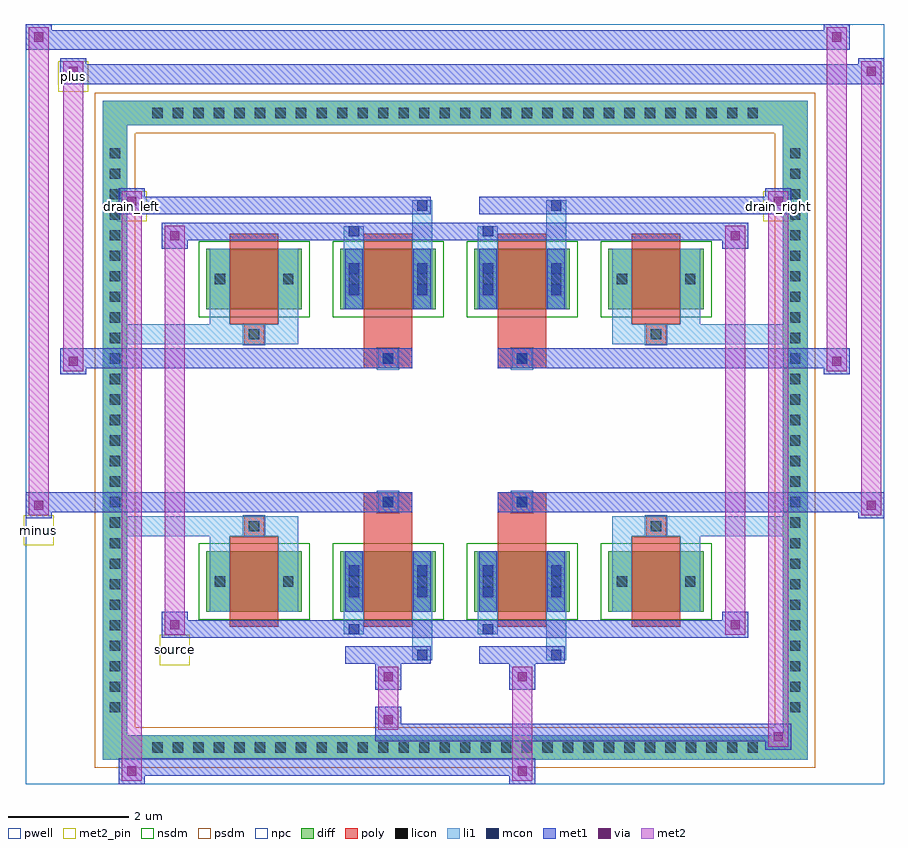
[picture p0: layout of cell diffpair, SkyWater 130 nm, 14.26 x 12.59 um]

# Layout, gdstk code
import gdstk
lib = gdstk.Library(unit=1e-6, precision=5e-09)
def R(c, l, rs):  # rectangles x0, y0, x1, y1
    for r in rs: c.add(gdstk.rectangle(r[:2], r[2:], *l))
def A(c, l, x, y, w, h, nx, ny, dx, dy):  # array of equal rectangles
    R(c, l, [(x+i*dx, y+j*dy, x+i*dx+w, y+j*dy+h) for i in range(nx) for j in range(ny)])
def P(c, l, *ps):  # polygons
    for p in ps: c.add(gdstk.Polygon(p, *l))
pwell = (64, 44)
diff = (65, 20)
poly = (66, 20)
licon = (66, 44)
li1 = (67, 20)
mcon = (67, 44)
met1 = (68, 20)
via = (68, 44)
met2_pin = (69, 16)
met2 = (69, 20)
nsdm = (93, 44)
psdm = (94, 20)
npc = (95, 20)

diffpair = lib.new_cell('diffpair')
R(diffpair, pwell, [(-7.11,-5.86,7.11,6.73), (-4.43,-4.05,-0.01,-0.825), (0.01,-4.05,4.43,-0.825), (-4.43,0.825,-0.01,4.05), (0.01,0.825,4.43,4.05)])
A(diffpair, diff, -5.135, -5.46, 0.41, 0.41, 30, 2, 0.34, 10.51)
A(diffpair, diff, -5.84, -4.795, 0.41, 0.41, 1, 28, 0, 0.34)
A(diffpair, diff, 5.43, -4.795, 0.41, 0.41, 1, 28, 0, 0.34)
A(diffpair, diff, -4.12, -3.005, 1.58, 1, 4, 2, 2.22, 5.01)
R(diffpair, diff, [(-5.135,-5.46,5.135,-5.05), (-5.84,-4.795,-5.43,4.795), (5.43,-4.795,5.84,4.795), (-5.135,5.05,5.135,5.46)])
P(diffpair, diff, [(5.84,5.46),(-5.84,5.46),(-5.84,-5.05),(-5.43,-5.05),(-5.43,5.05),(5.43,5.05),(5.43,-5.05),(-5.43,-5.05),(-5.84,-5.05),(-5.84,-5.46),(5.84,-5.46)])
A(diffpair, poly, -3.73, -3.255, 0.8, 1.5, 4, 2, 2.22, 5.01)
R(diffpair, poly, [(-3.495,-1.755,-3.165,-1.425), (-3.495,-1.755,-3.165,-1.425), (-1.51,-1.755,-0.71,-1.355), (0.71,-1.755,1.51,-1.355), (3.165,-1.755,3.495,-1.425), (3.165,-1.755,3.495,-1.425), (-1.51,-1.355,-0.71,-1.025), (-1.275,-1.355,-0.945,-1.025), (0.71,-1.355,1.51,-1.025), (0.945,-1.355,1.275,-1.025), (-1.51,1.025,-0.71,1.355), (-1.275,1.025,-0.945,1.355), (0.71,1.025,1.51,1.355), (0.945,1.025,1.275,1.355), (-1.51,1.355,-0.71,1.755), (0.71,1.355,1.51,1.755), (-3.495,1.425,-3.165,1.755), (-3.495,1.425,-3.165,1.755), (3.165,1.425,3.495,1.755), (3.165,1.425,3.495,1.755)])
A(diffpair, licon, -5.015, -5.34, 0.17, 0.17, 30, 2, 0.34, 10.51)
A(diffpair, licon, -5.72, -4.675, 0.17, 0.17, 1, 28, 0, 0.34)
A(diffpair, licon, 5.55, -4.675, 0.17, 0.17, 1, 28, 0, 0.34)
R(diffpair, licon, [(-3.98,-2.59,-3.81,-2.42), (-2.85,-2.59,-2.68,-2.42), (-1.76,-2.59,-1.59,-2.42), (-0.63,-2.59,-0.46,-2.42), (0.46,-2.59,0.63,-2.42), (1.59,-2.59,1.76,-2.42), (2.68,-2.59,2.85,-2.42), (3.81,-2.59,3.98,-2.42), (-3.415,-1.675,-3.245,-1.505), (3.245,-1.675,3.415,-1.505), (-1.195,-1.275,-1.025,-1.105), (1.025,-1.275,1.195,-1.105), (-1.195,1.105,-1.025,1.275), (1.025,1.105,1.195,1.275), (-3.415,1.505,-3.245,1.675), (3.245,1.505,3.415,1.675), (-3.98,2.42,-3.81,2.59), (-2.85,2.42,-2.68,2.59), (-1.76,2.42,-1.59,2.59), (-0.63,2.42,-0.46,2.59), (0.46,2.42,0.63,2.59), (1.59,2.42,1.76,2.59), (2.68,2.42,2.85,2.59), (3.81,2.42,3.98,2.59)])
A(diffpair, li1, -5.095, -5.42, 0.33, 0.33, 30, 2, 0.34, 10.51)
A(diffpair, li1, -5.8, -4.755, 0.33, 0.33, 1, 28, 0, 0.34)
A(diffpair, li1, 5.47, -4.755, 0.33, 0.33, 1, 28, 0, 0.34)
R(diffpair, li1, [(-5.84,-5.46,-5.43,-5.05), (-5.84,-5.46,-5.43,-5.05), (-5.43,-5.46,5.43,-5.05), (5.43,-5.46,5.84,-5.05), (5.43,-5.46,5.84,-5.05), (-5.84,-5.05,-5.43,5.05), (5.43,-5.05,5.84,5.05), (-0.71,-3.81,-0.38,-3.005), (-0.63,-3.81,-0.46,-3.64), (1.51,-3.81,1.84,-3.005), (1.59,-3.81,1.76,-3.64), (-1.84,-3.38,-1.51,-3.005), (-1.76,-3.38,-1.59,-3.21), (0.38,-3.38,0.71,-3.005), (0.46,-3.38,0.63,-3.21), (-4.06,-3.005,-3.73,-2.005), (-2.93,-3.005,-2.6,-2.005), (-1.84,-3.005,-1.51,-2.005), (-0.71,-3.005,-0.38,-2.005), (0.38,-3.005,0.71,-2.005), (1.51,-3.005,1.84,-2.005), (2.6,-3.005,2.93,-2.005), (3.73,-3.005,4.06,-2.005), (-1.76,-2.77,-1.59,-2.6), (-1.76,-2.77,-1.59,-2.24), (-0.63,-2.77,-0.46,-2.6), (-0.63,-2.77,-0.46,-2.24), (0.46,-2.77,0.63,-2.6), (0.46,-2.77,0.63,-2.24), (1.59,-2.77,1.76,-2.6), (1.59,-2.77,1.76,-2.24), (-4.06,-2.67,-3.73,-2.34), (-2.93,-2.67,-2.6,-2.34), (-1.84,-2.67,-1.51,-2.34), (-0.71,-2.67,-0.38,-2.34), (0.38,-2.67,0.71,-2.34), (1.51,-2.67,1.84,-2.34), (2.6,-2.67,2.93,-2.34), (3.73,-2.67,4.06,-2.34), (-1.76,-2.41,-1.59,-2.24), (-0.63,-2.41,-0.46,-2.24), (0.46,-2.41,0.63,-2.24), (1.59,-2.41,1.76,-2.24), (-4.06,-2.005,-3.73,-1.425), (-2.93,-2.005,-2.6,-1.425), (2.6,-2.005,2.93,-1.425), (3.73,-2.005,4.06,-1.425), (-5.84,-1.755,-3.495,-1.425), (-4.06,-1.755,-3.495,-1.425), (-3.495,-1.755,-3.165,-1.425), (-3.165,-1.755,-2.6,-1.425), (2.6,-1.755,3.165,-1.425), (3.165,-1.755,3.495,-1.425), (3.165,-1.755,5.84,-1.425), (3.495,-1.755,4.06,-1.425), (-1.275,-1.355,-0.945,-1.025), (0.945,-1.355,1.275,-1.025), (-1.275,1.025,-0.945,1.355), (0.945,1.025,1.275,1.355), (-5.84,1.425,-3.495,1.755), (-4.06,1.425,-3.495,1.755), (-4.06,1.425,-3.73,2.005), (-3.495,1.425,-3.165,1.755), (-3.165,1.425,-2.6,1.755), (-2.93,1.425,-2.6,2.005), (2.6,1.425,3.165,1.755), (2.6,1.425,2.93,2.005), (3.165,1.425,3.495,1.755), (3.165,1.425,5.84,1.755), (3.495,1.425,4.06,1.755), (3.73,1.425,4.06,2.005), (-4.06,2.005,-3.73,3.005), (-2.93,2.005,-2.6,3.005), (-1.84,2.005,-1.51,3.005), (-0.71,2.005,-0.38,3.005), (0.38,2.005,0.71,3.005), (1.51,2.005,1.84,3.005), (2.6,2.005,2.93,3.005), (3.73,2.005,4.06,3.005), (-1.76,2.24,-1.59,2.41), (-1.76,2.24,-1.59,2.77), (-0.63,2.24,-0.46,2.41), (-0.63,2.24,-0.46,2.77), (0.46,2.24,0.63,2.41), (0.46,2.24,0.63,2.77), (1.59,2.24,1.76,2.41), (1.59,2.24,1.76,2.77), (-4.06,2.34,-3.73,2.67), (-2.93,2.34,-2.6,2.67), (-1.84,2.34,-1.51,2.67), (-0.71,2.34,-0.38,2.67), (0.38,2.34,0.71,2.67), (1.51,2.34,1.84,2.67), (2.6,2.34,2.93,2.67), (3.73,2.34,4.06,2.67), (-1.76,2.6,-1.59,2.77), (-0.63,2.6,-0.46,2.77), (0.46,2.6,0.63,2.77), (1.59,2.6,1.76,2.77), (-1.84,3.005,-1.51,3.38), (-0.71,3.005,-0.38,3.81), (0.38,3.005,0.71,3.38), (1.51,3.005,1.84,3.81), (-1.76,3.21,-1.59,3.38), (0.46,3.21,0.63,3.38), (-0.63,3.64,-0.46,3.81), (1.59,3.64,1.76,3.81), (-5.84,5.05,-5.43,5.46), (-5.84,5.05,-5.43,5.46), (-5.43,5.05,5.43,5.46), (5.43,5.05,5.84,5.46), (5.43,5.05,5.84,5.46)])
R(diffpair, mcon, [(-0.63,-3.81,-0.46,-3.64), (1.59,-3.81,1.76,-3.64), (-1.76,-3.38,-1.59,-3.21), (0.46,-3.38,0.63,-3.21), (-1.76,-2.77,-1.59,-2.6), (-0.63,-2.77,-0.46,-2.6), (0.46,-2.77,0.63,-2.6), (1.59,-2.77,1.76,-2.6), (-1.76,-2.41,-1.59,-2.24), (-0.63,-2.41,-0.46,-2.24), (0.46,-2.41,0.63,-2.24), (1.59,-2.41,1.76,-2.24), (-1.195,-1.275,-1.025,-1.105), (1.025,-1.275,1.195,-1.105), (-1.195,1.105,-1.025,1.275), (1.025,1.105,1.195,1.275), (-1.76,2.24,-1.59,2.41), (-0.63,2.24,-0.46,2.41), (0.46,2.24,0.63,2.41), (1.59,2.24,1.76,2.41), (-1.76,2.6,-1.59,2.77), (-0.63,2.6,-0.46,2.77), (0.46,2.6,0.63,2.77), (1.59,2.6,1.76,2.77), (-1.76,3.21,-1.59,3.38), (0.46,3.21,0.63,3.38), (-0.63,3.64,-0.46,3.81), (1.59,3.64,1.76,3.81)])
R(diffpair, met1, [(-5.57,-5.86,-5.14,-5.43), (0.895,-5.86,1.325,-5.43), (-5.57,-5.72,1.325,-5.43), (5.14,-5.29,5.57,-4.86), (-1.325,-5.15,5.57,-4.86), (-1.325,-5.01,-0.895,-4.58), (-1.325,-4.3,-0.895,-3.87), (0.895,-4.3,1.325,-3.87), (-1.82,-3.87,-0.4,-3.58), (-0.69,-3.87,-0.4,-3.58), (0.4,-3.87,1.82,-3.58), (1.53,-3.87,1.82,-3.58), (-4.86,-3.44,-4.43,-3.01), (-4.86,-3.44,-1.82,-3.15), (-1.82,-3.44,-1.53,-3.15), (-1.82,-3.44,-0.4,-3.15), (-0.4,-3.44,0.4,-3.15), (0.4,-3.44,0.69,-3.15), (0.4,-3.44,1.82,-3.15), (1.82,-3.44,4.86,-3.15), (4.43,-3.44,4.86,-3.01), (-1.82,-3.005,-1.53,-2.005), (-0.69,-3.005,-0.4,-2.005), (0.4,-3.005,0.69,-2.005), (1.53,-3.005,1.82,-2.005), (-1.82,-2.83,-1.53,-2.54), (-0.69,-2.83,-0.4,-2.54), (0.4,-2.83,0.69,-2.54), (1.53,-2.83,1.82,-2.54), (-1.82,-2.47,-1.53,-2.18), (-0.69,-2.47,-0.4,-2.18), (0.4,-2.47,0.69,-2.18), (1.53,-2.47,1.82,-2.18), (-7.11,-1.455,-6.68,-1.025), (6.68,-1.455,7.11,-1.025), (-7.11,-1.355,-0.71,-1.025), (-1.51,-1.355,-0.71,-1.025), (0.71,-1.355,1.51,-1.025), (0.71,-1.355,7.11,-1.025), (-1.255,-1.335,-0.965,-1.045), (0.965,-1.335,1.255,-1.045), (-6.54,0.925,-6.11,1.355), (6.11,0.925,6.54,1.355), (-6.54,1.025,-1.51,1.355), (-1.51,1.025,-0.71,1.355), (0.71,1.025,1.51,1.355), (1.51,1.025,6.54,1.355), (-1.255,1.045,-0.965,1.335), (0.965,1.045,1.255,1.335), (-1.82,2.005,-1.53,3.005), (-0.69,2.005,-0.4,3.005), (0.4,2.005,0.69,3.005), (1.53,2.005,1.82,3.005), (-1.82,2.18,-1.53,2.47), (-0.69,2.18,-0.4,2.47), (0.4,2.18,0.69,2.47), (1.53,2.18,1.82,2.47), (-1.82,2.54,-1.53,2.83), (-0.69,2.54,-0.4,2.83), (0.4,2.54,0.69,2.83), (1.53,2.54,1.82,2.83), (-4.86,3.01,-4.43,3.44), (4.43,3.01,4.86,3.44), (-4.86,3.15,-1.82,3.44), (-1.82,3.15,-1.53,3.44), (-1.82,3.15,-0.4,3.44), (-0.4,3.15,0.4,3.44), (0.4,3.15,0.69,3.44), (0.4,3.15,1.82,3.44), (1.82,3.15,4.86,3.44), (-5.57,3.58,-5.14,4.01), (-5.57,3.58,-1.82,3.87), (-1.82,3.58,-0.4,3.87), (-0.69,3.58,-0.4,3.87), (0.4,3.58,1.82,3.87), (1.53,3.58,1.82,3.87), (1.82,3.58,5.57,3.87), (5.14,3.58,5.57,4.01), (-6.54,5.73,-6.11,6.16), (-6.54,5.73,-4.43,6.06), (-4.43,5.73,4.43,6.06), (4.43,5.73,7.11,6.06), (6.68,5.73,7.11,6.16), (-7.11,6.3,-6.68,6.73), (-7.11,6.3,-4.43,6.63), (-4.43,6.3,4.43,6.63), (4.43,6.3,6.54,6.63), (6.11,6.3,6.54,6.73)])
R(diffpair, via, [(-5.43,-5.72,-5.28,-5.57), (1.035,-5.72,1.185,-5.57), (5.28,-5.15,5.43,-5), (-1.185,-4.87,-1.035,-4.72), (-1.185,-4.16,-1.035,-4.01), (1.035,-4.16,1.185,-4.01), (-4.72,-3.3,-4.57,-3.15), (4.57,-3.3,4.72,-3.15), (-6.97,-1.315,-6.82,-1.165), (6.82,-1.315,6.97,-1.165), (-6.4,1.065,-6.25,1.215), (6.25,1.065,6.4,1.215), (-4.72,3.15,-4.57,3.3), (4.57,3.15,4.72,3.3), (-5.43,3.72,-5.28,3.87), (5.28,3.72,5.43,3.87), (-6.4,5.87,-6.25,6.02), (6.82,5.87,6.97,6.02), (-6.97,6.44,-6.82,6.59), (6.25,6.44,6.4,6.59)])
R(diffpair, met2_pin, [(-4.895,-3.89,-4.395,-3.39), (-7.145,-1.905,-6.645,-1.405), (-5.605,3.46,-5.105,3.96), (5.105,3.46,5.605,3.96), (-6.575,5.61,-6.075,6.11)])
R(diffpair, met2, [(-5.52,-5.81,-5.19,-5.48), (-5.52,-5.81,-5.19,3.96), (0.945,-5.81,1.275,-5.48), (0.945,-5.48,1.275,-4.25), (5.19,-5.24,5.52,-4.91), (5.19,-5.24,5.52,3.96), (-1.275,-4.96,-0.945,-4.63), (-1.275,-4.63,-0.945,-4.25), (-1.275,-4.25,-0.945,-3.92), (0.945,-4.25,1.275,-3.92), (-4.81,-3.39,-4.48,-3.06), (-4.81,-3.39,-4.48,3.39), (4.48,-3.39,4.81,-3.06), (4.48,-3.39,4.81,3.39), (-7.06,-1.405,-6.73,-1.075), (-7.06,-1.405,-6.73,6.68), (6.73,-1.405,7.06,-1.075), (6.73,-1.405,7.06,6.11), (-6.49,0.975,-6.16,1.305), (-6.49,0.975,-6.16,6.11), (6.16,0.975,6.49,1.305), (6.16,0.975,6.49,6.68), (-4.81,3.06,-4.48,3.39), (4.48,3.06,4.81,3.39), (-5.52,3.63,-5.19,3.96), (5.19,3.63,5.52,3.96), (-6.49,5.78,-6.16,6.11), (6.73,5.78,7.06,6.11), (-7.06,6.35,-6.73,6.68), (6.16,6.35,6.49,6.68)])
P(diffpair, met2, [(7.06,-1.405),(7.06,-1.405),(7.06,-1.075),(7.06,-1.075)],
  [(7.06,5.78),(7.06,5.78),(7.06,6.11),(7.06,6.11)],
  [(-6.73,-1.405),(-6.73,-1.405),(-6.73,-1.075),(-6.73,-1.075)],
  [(-6.73,6.35),(-6.73,6.35),(-6.73,6.68),(-6.73,6.68)],
  [(6.49,0.975),(6.49,0.975),(6.49,1.305),(6.49,1.305)],
  [(6.49,6.35),(6.49,6.35),(6.49,6.68),(6.49,6.68)],
  [(-6.16,0.975),(-6.16,0.975),(-6.16,1.305),(-6.16,1.305)],
  [(-6.16,5.78),(-6.16,5.78),(-6.16,6.11),(-6.16,6.11)],
  [(-5.19,-5.81),(-5.19,-5.81),(-5.19,-5.48),(-5.19,-5.48)],
  [(-5.19,3.63),(-5.19,3.63),(-5.19,3.96),(-5.19,3.96)],
  [(5.52,-5.24),(5.52,-5.24),(5.52,-4.91),(5.52,-4.91)],
  [(5.52,3.63),(5.52,3.63),(5.52,3.96),(5.52,3.96)],
  [(-4.48,-3.39),(-4.48,-3.39),(-4.48,-3.06),(-4.48,-3.06)],
  [(-4.48,3.06),(-4.48,3.06),(-4.48,3.39),(-4.48,3.39)],
  [(4.81,-3.39),(4.81,-3.39),(4.81,-3.06),(4.81,-3.06)],
  [(4.81,3.06),(4.81,3.06),(4.81,3.39),(4.81,3.39)])
A(diffpair, nsdm, -4.25, -3.135, 1.84, 1.26, 4, 2, 2.22, 5.01)
P(diffpair, psdm, [(5.97,5.59),(-5.97,5.59),(-5.97,-4.92),(-5.3,-4.92),(-5.3,4.92),(5.3,4.92),(5.3,-4.92),(-5.3,-4.92),(-5.97,-4.92),(-5.97,-5.59),(5.97,-5.59)])
R(diffpair, npc, [(-3.515,-1.775,-3.145,-1.405), (3.145,-1.775,3.515,-1.405), (-1.295,-1.375,-0.925,-1.005), (0.925,-1.375,1.295,-1.005), (-1.295,1.005,-0.925,1.375), (0.925,1.005,1.295,1.375), (-3.515,1.405,-3.145,1.775), (3.145,1.405,3.515,1.775)])
diffpair.add(gdstk.Label('minus', (-6.895,-1.655), layer=69, texttype=5))
diffpair.add(gdstk.Label('drain_right', (5.355,3.71), layer=69, texttype=5))
diffpair.add(gdstk.Label('drain_left', (-5.355,3.71), layer=69, texttype=5))
diffpair.add(gdstk.Label('source', (-4.645,-3.64), layer=69, texttype=5))
diffpair.add(gdstk.Label('plus', (-6.325,5.86), layer=69, texttype=5))

lib.write_gds('diffpair.gds')
